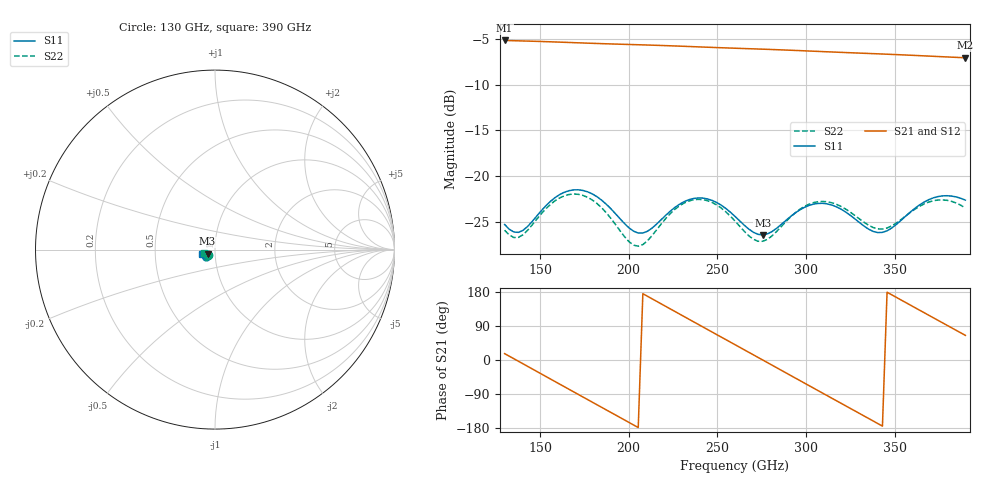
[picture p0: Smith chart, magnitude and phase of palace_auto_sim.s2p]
#  GHZ S DB R 50
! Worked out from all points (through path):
!   101 points, 130 GHz to 390 GHz, reference 50 ohm
!   highest |S21| = -5.17 dB at 130 GHz (marker M1); lowest = -7.1 dB at 390 GHz (marker M2)
!   group delay of S21, straight-line fit = 7.18 ps
!   lowest |S11| = -26.4 dB at 275.6 GHz (marker M3), VSWR 1.10, Z = 46 - j2.13 ohm
!   |S11| at or under -10 dB: start of sweep to end of sweep
!   |S22| runs from -27.7 to -22.0 dB; largest |S21 - S12| = 8.3e-14
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130  -25.29 -144.5  -5.17 16.8  -5.17 16.8  -25.92 -144.8
137.8  -26.16 -131.5  -5.21 -3.3  -5.21 -3.3  -26.71 -130.6
148.2  -24.36 -120.2  -5.27 -30.3  -5.27 -30.3  -24.70 -119.6
161.2  -22.01 -127.9  -5.35 -64.0  -5.35 -64.0  -22.37 -128.4
174.2  -21.57 -143.7  -5.45 -97.6  -5.45 -97.6  -22.12 -145.2
184.6  -22.61 -154.9  -5.52 -124.5  -5.52 -124.5  -23.44 -156.6
197.6  -25.18 -157.2  -5.59 -158.1  -5.59 -158.1  -26.61 -156.4
208  -26.23 -144.1  -5.65 175.0  -5.65 175.0  -27.50 -137.1
218.4  -24.76 -134.5  -5.72 148.0  -5.72 148.0  -25.23 -126.9
228.8  -23.07 -138.1  -5.79 121.1  -5.79 121.1  -23.24 -132.5
239.2  -22.39 -147.8  -5.87 94.2  -5.87 94.2  -22.55 -144.0
249.6  -22.89 -158.0  -5.95 67.3  -5.95 67.3  -23.15 -155.3
260  -24.41 -163.4  -6.02 40.4  -6.02 40.4  -24.92 -160.8
275.6  -26.43 -151.0  -6.12 0.1  -6.12 0.1  -27.13 -144.5
288.6  -24.87 -140.1  -6.22 -33.5  -6.22 -33.5  -25.01 -132.5
304.2  -23.07 -147.6  -6.34 -73.9  -6.34 -73.9  -22.91 -141.7
322.4  -23.93 -161.1  -6.49 -120.8  -6.49 -120.8  -23.61 -156.7
335.4  -25.81 -158.1  -6.59 -154.3  -6.59 -154.3  -25.38 -155.6
348.4  -25.69 -142.9  -6.69 172.1  -6.69 172.1  -25.45 -143.0
358.8  -23.96 -139.2  -6.78 145.3  -6.78 145.3  -24.00 -140.0
371.8  -22.39 -146.5  -6.90 111.8  -6.90 111.8  -22.71 -147.6
390  -22.63 -161.1  -7.06 65.0  -7.06 65.0  -23.50 -162.5
